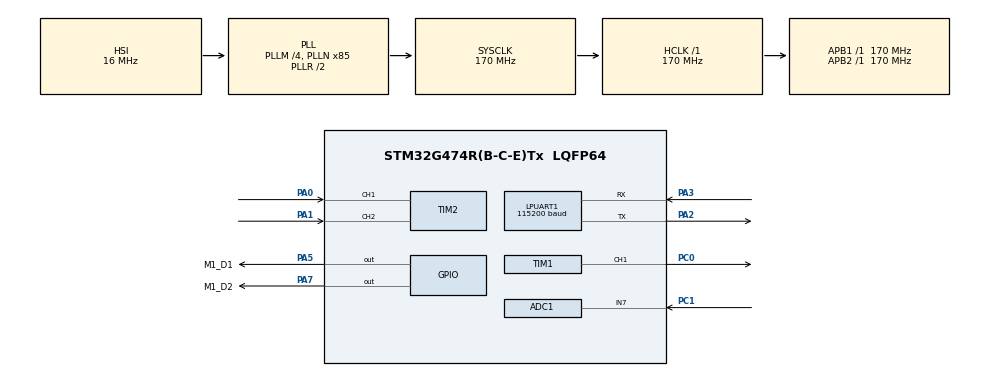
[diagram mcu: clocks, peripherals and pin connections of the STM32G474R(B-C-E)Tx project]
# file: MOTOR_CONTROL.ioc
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ADC1.Channel-1\#ChannelRegularConversion=ADC_CHANNEL_7
ADC1.NbrOfConversionFlag=1
ADC1.OffsetNumber-1\#ChannelRegularConversion=ADC_OFFSET_NONE
ADC1.Rank-1\#ChannelRegularConversion=1
ADC1.SamplingTime-1\#ChannelRegularConversion=ADC_SAMPLETIME_92CYCLES_5
ADC1.master=1
Dma.LPUART1_RX.1.Direction=DMA_PERIPH_TO_MEMORY
Dma.LPUART1_RX.1.EventEnable=DISABLE
Dma.LPUART1_RX.1.Instance=DMA1_Channel2
Dma.LPUART1_RX.1.MemDataAlignment=DMA_MDATAALIGN_BYTE
Dma.LPUART1_RX.1.MemInc=DMA_MINC_ENABLE
Dma.LPUART1_RX.1.Mode=DMA_NORMAL
Dma.LPUART1_RX.1.PeriphDataAlignment=DMA_PDATAALIGN_BYTE
Dma.LPUART1_RX.1.PeriphInc=DMA_PINC_DISABLE
Dma.LPUART1_RX.1.Polarity=HAL_DMAMUX_REQ_GEN_RISING
Dma.LPUART1_RX.1.Priority=DMA_PRIORITY_HIGH
Dma.LPUART1_RX.1.RequestNumber=1
Dma.LPUART1_RX.1.SignalID=NONE
Dma.LPUART1_RX.1.SyncEnable=DISABLE
Dma.LPUART1_RX.1.SyncPolarity=HAL_DMAMUX_SYNC_NO_EVENT
Dma.LPUART1_RX.1.SyncRequestNumber=1
Dma.LPUART1_RX.1.SyncSignalID=NONE
Dma.LPUART1_TX.0.Direction=DMA_MEMORY_TO_PERIPH
Dma.LPUART1_TX.0.EventEnable=DISABLE
Dma.LPUART1_TX.0.Instance=DMA1_Channel1
Dma.LPUART1_TX.0.MemDataAlignment=DMA_MDATAALIGN_BYTE
Dma.LPUART1_TX.0.MemInc=DMA_MINC_ENABLE
Dma.LPUART1_TX.0.Mode=DMA_NORMAL
Dma.LPUART1_TX.0.PeriphDataAlignment=DMA_PDATAALIGN_BYTE
Dma.LPUART1_TX.0.PeriphInc=DMA_PINC_DISABLE
Dma.LPUART1_TX.0.Polarity=HAL_DMAMUX_REQ_GEN_RISING
Dma.LPUART1_TX.0.Priority=DMA_PRIORITY_MEDIUM
Dma.LPUART1_TX.0.RequestNumber=1
Dma.LPUART1_TX.0.SignalID=NONE
Dma.LPUART1_TX.0.SyncEnable=DISABLE
Dma.LPUART1_TX.0.SyncPolarity=HAL_DMAMUX_SYNC_NO_EVENT
Dma.LPUART1_TX.0.SyncRequestNumber=1
Dma.LPUART1_TX.0.SyncSignalID=NONE
Dma.Request0=LPUART1_TX
Dma.Request1=LPUART1_RX
LPUART1.BaudRate=115200
LPUART1.FIFOMode=UART_FIFOMODE_ENABLE
Mcu.Family=STM32G4
Mcu.Name=STM32G474R(B-C-E)Tx
Mcu.Package=LQFP64
NUCLEO-G474RE.BUTTON=0
NUCLEO-G474RE.LD2=false
NUCLEO-G474RE.VCP=false
NVIC.DMA1_Channel1_IRQn=true\:2\:0\:true\:false\:true\:false\:true\:true
NVIC.DMA1_Channel2_IRQn=true\:1\:0\:true\:false\:true\:false\:true\:true
NVIC.LPUART1_IRQn=true\:1\:0\:true\:false\:true\:true\:true\:true
NVIC.PriorityGroup=NVIC_PRIORITYGROUP_4
NVIC.TIM3_IRQn=true\:0\:0\:false\:false\:true\:true\:true\:true
NVIC.TIM6_DAC_IRQn=true\:0\:0\:false\:false\:true\:true\:true\:true
PA0.GPIO_PuPd=GPIO_PULLUP
PA0.Signal=S_TIM2_CH1
PA1.GPIO_PuPd=GPIO_PULLUP
PA1.Signal=S_TIM2_CH2
PA13.GPIO_Label=T_SWDIO
PA13.Mode=Serial_Wire
PA13.Signal=SYS_JTMS-SWDIO
PA14.GPIO_Label=T_SWCLK
PA14.Mode=Serial_Wire
PA14.Signal=SYS_JTCK-SWCLK
PA2.Mode=Asynchronous
PA2.Signal=LPUART1_TX
PA3.Mode=Asynchronous
PA3.Signal=LPUART1_RX
PA5.GPIO_Label=M1_D1
PA5.Signal=GPIO_Output
PA7.GPIO_Label=M1_D2
PA7.Signal=GPIO_Output
PB3.GPIO_Label=T_SWO
PB3.Signal=SYS_JTDO-SWO
PC0.Signal=S_TIM1_CH1
PC1.Mode=IN7-Single-Ended
PC1.Signal=ADC1_IN7
PC14-OSC32_IN.GPIO_Label=RCC_OSC32_IN
PC14-OSC32_IN.Signal=RCC_OSC32_IN
PC15-OSC32_OUT.GPIO_Label=RCC_OSC32_OUT
PC15-OSC32_OUT.Signal=RCC_OSC32_OUT
PF0-OSC_IN.GPIO_Label=RCC_OSC_IN
PF0-OSC_IN.Mode=HSE-External-Oscillator
PF0-OSC_IN.Signal=RCC_OSC_IN
PF1-OSC_OUT.GPIO_Label=RCC_OSC_OUT
PF1-OSC_OUT.Mode=HSE-External-Oscillator
PF1-OSC_OUT.Signal=RCC_OSC_OUT
ProjectManager.HeapSize=0x200
ProjectManager.StackSize=0x400
ProjectManager.TargetToolchain=STM32CubeIDE
RCC.ADC12Freq_Value=170000000
RCC.ADC345Freq_Value=170000000
RCC.AHBFreq_Value=170000000
RCC.APB1Freq_Value=170000000
RCC.APB1TimFreq_Value=170000000
RCC.APB2Freq_Value=170000000
RCC.APB2TimFreq_Value=170000000
RCC.CortexFreq_Value=170000000
RCC.EXTERNAL_CLOCK_VALUE=12288000
RCC.HCLKFreq_Value=170000000
RCC.HSE_VALUE=24000000
RCC.HSI48_VALUE=48000000
RCC.HSI_VALUE=16000000
RCC.LSE_VALUE=32768
RCC.PLLM=RCC_PLLM_DIV4
RCC.PLLN=85
RCC.RTCClockSelection=RCC_RTCCLKSOURCE_LSE
RCC.SYSCLKFreq_VALUE=170000000
RCC.SYSCLKSource=RCC_SYSCLKSOURCE_PLLCLK
RCC.USBFreq_Value=170000000
RCC.VCOOutputFreq_Value=340000000
SH.S_TIM1_CH1.0=TIM1_CH1,PWM Generation1 CH1
SH.S_TIM2_CH1.0=TIM2_CH1,Encoder_Interface
SH.S_TIM2_CH2.0=TIM2_CH2,Encoder_Interface
TIM1.Channel-PWM\ Generation1\ CH1=TIM_CHANNEL_1
TIM1.PeriodNoDither=255
TIM1.Prescaler=32
TIM2.EncoderMode=TIM_ENCODERMODE_TI1
TIM2.IC1Filter=10
TIM2.IC2Filter=10
TIM2.TIM_MasterOutputTrigger=TIM_TRGO_ENCODER_CLK
TIM2.TIM_MasterSlaveMode=TIM_MASTERSLAVEMODE_ENABLE
TIM3.Channel-Input_Capture1_from_TRC=TIM_CHANNEL_1
TIM3.ICPrescaler-Input_Capture1_from_TRC=TIM_ICPSC_DIV1
TIM3.Prescaler=99
TIM6.PeriodNoDither=4999
TIM6.Prescaler=1699
VP_ADC1_Vref_Input.Mode=IN-Vrefint
VP_NUCLEO-G474RE_VS_BSP_COMMON.Mode=COMMON
VP_SYS_VS_DBSignals.Mode=DisableDeadBatterySignals
VP_TIM1_VS_ClockSourceINT.Mode=Internal
VP_TIM3_VS_CH1.Mode=Input_Capture1_from_TRC
VP_TIM3_VS_ClockSourceINT.Mode=Internal
VP_TIM3_VS_ClockSourceITR.Mode=TriggerSource_ITR1
VP_TIM3_VS_ControllerModeReset.Mode=Reset Mode
VP_TIM6_VS_ClockSourceINT.Mode=Enable_Timer
board=NUCLEO-G474RE

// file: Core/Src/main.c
/* USER CODE BEGIN Header */
/**
  ******************************************************************************
  * @file           : main.c
  * @brief          : Main program body
  ******************************************************************************
  * @attention
  *
  * Copyright (c) 2026 STMicroelectronics.
  * All rights reserved.
  *
  * This software is licensed under terms that can be found in the LICENSE file
  * in the root directory of this software component.
  * If no LICENSE file comes with this software, it is provided AS-IS.
  *
  ******************************************************************************
  */
/* USER CODE END Header */
#include "main.h"
#include "adc.h"
#include "dma.h"
#include "usart.h"
#include "tim.h"
#include "gpio.h"

/* USER CODE BEGIN Includes */
#include <string.h>
#include <stdbool.h>
#include "app.h"
#include "format.h"
#include "stm_battery_drv.h"
/* USER CODE END Includes */

/* USER CODE BEGIN PV */
static uint8_t dma_buf[RX_BUF_SIZE];
static char read_buf[RX_BUF_SIZE];
static char telemetry_buf[TELEMETRY_BUF_SIZE];
static char app_reply_buf[APP_REPLY_BUF_SIZE];
static volatile uint16_t received_len = 0;
static volatile bool rx_data_ready = false;
static volatile bool uart_hdmarx_locked = false;
static volatile bool need_rearm = false;
static uint16_t rearm_retries = 0;
static const uint16_t max_rearm_retries = 100;
static const char * const uart_rearm_stuck = "UART DMA rearm stuck\n";
static uint32_t uart_silence_start = 0;
static uint32_t telemetry_tx_start = 0;
static uint32_t battery_check_start = 0;
static const battery_t battery = {
    .get_vbat_raw = stm_bat_drv_get_vbat_raw,
    .get_vdda = stm_bat_drv_get_vdda,
};

/* USER CODE END PV */

void SystemClock_Config(void);
/* USER CODE BEGIN PFP */
static void unlock_uart_hdma();
static void init_debugmcu();
static void rearm_uart_dma_rx();
void debug_print_str(const char *msg);
void debug_print(char *buf, size_t len);
/* USER CODE END PFP */

/* USER CODE BEGIN 0 */
void HAL_UART_ErrorCallback(UART_HandleTypeDef *huart)
{
	if (huart->Instance != LPUART1)
		return;

	if ((huart->ErrorCode & HAL_UART_ERROR_ORE) != 0 && huart->hdmarx->Lock == HAL_LOCKED)
		uart_hdmarx_locked = true;
	else
		need_rearm = true;
}

void HAL_UARTEx_RxEventCallback(UART_HandleTypeDef *huart, uint16_t Size)
{
	if (huart->Instance != LPUART1)
		return;

	if (HAL_UARTEx_GetRxEventType(huart) == HAL_UART_RXEVENT_HT)
		return;

	memcpy(read_buf, dma_buf, Size);
	received_len = Size;
	rx_data_ready = true;
}

void HAL_TIM_PeriodElapsedCallback(TIM_HandleTypeDef *htim)
{
	if (htim->Instance == TIM6)
	{
		app_do_control_action();
	}

	if (htim->Instance == TIM3)
	{
		if (__HAL_TIM_GET_FLAG(htim, TIM_FLAG_TRIGGER) == SET)
			__HAL_TIM_CLEAR_FLAG(htim, TIM_FLAG_TRIGGER);
		else
			app_try_reset_t_method(HAL_GetTick());
	}
}

void HAL_TIM_IC_CaptureCallback(TIM_HandleTypeDef *htim)
{
	if (htim->Instance == TIM3)
	{
		app_run_t_method(htim->Instance->CCR1, HAL_GetTick());
	}
}

/* USER CODE END 0 */

int main(void)
{

  /* MCU Configuration--------------------------------------------------------*/

  /* Reset of all peripherals, Initializes the Flash interface and the Systick. */
  HAL_Init();

  /* Configure the system clock */
  SystemClock_Config();

  /* Initialize all configured peripherals */
  MX_GPIO_Init();
  MX_DMA_Init();
  MX_LPUART1_UART_Init();
  MX_TIM2_Init();
  MX_TIM6_Init();
  MX_TIM1_Init();
  MX_TIM3_Init();
  MX_ADC1_Init();
  /* USER CODE BEGIN 2 */
  init_debugmcu();

  app_init();

  HAL_UARTEx_ReceiveToIdle_DMA(&hlpuart1, dma_buf, RX_BUF_SIZE);

  HAL_TIM_Base_Start_IT(&htim6); // PID timer

  HAL_TIM_IC_Start_IT(&htim3, TIM_CHANNEL_1); // input capture

  HAL_TIM_Base_Start_IT(&htim3); // period elapsed

  HAL_ADCEx_Calibration_Start(&hadc1, ADC_SINGLE_ENDED);

  stm_bat_drv_init(&hadc1, ADC_CHANNEL_VREFINT, ADC_CHANNEL_7);

  app_init();

  /* USER CODE END 2 */

  /* Infinite loop */
  /* USER CODE BEGIN WHILE */
  while (1)
  {
	uint32_t now = HAL_GetTick();

	if (rx_data_ready && hlpuart1.gState == HAL_UART_STATE_READY)
	{
		rx_data_ready = false;
		uint16_t reply_len = app_process_command(read_buf, received_len, app_reply_buf);
		if (reply_len > 0)
			HAL_UART_Transmit_DMA(&hlpuart1, (uint8_t *)app_reply_buf, reply_len);

		need_rearm = true;
		uart_silence_start = now;
	}

	if (!rx_data_ready && now - uart_silence_start >= UART_MAX_SILENCE_DURATION_MS)
	{
		app_do_silence_action();
		uart_silence_start = now;
	}

	if ((now - telemetry_tx_start >= TELEMETRY_INTERVAL_MS) && hlpuart1.gState == HAL_UART_STATE_READY)
	{
		uint16_t telemetry_len = app_get_telemetry(telemetry_buf, now);
		if (telemetry_len > 0)
			HAL_UART_Transmit_DMA(&hlpuart1, (uint8_t *)telemetry_buf, (uint16_t)telemetry_len);

		telemetry_tx_start = now;
	}

	if (now - battery_check_start >= BATTERY_CHECK_INTERVAL_MS)
	{
		app_calc_v_bat(&battery);
		battery_check_start = now;
	}

	if (need_rearm)
		rearm_uart_dma_rx();

	if (uart_hdmarx_locked)
		unlock_uart_hdma();

    /* USER CODE END WHILE */

  }
}

void SystemClock_Config(void)
{
  RCC_OscInitTypeDef RCC_OscInitStruct = {0};
  RCC_ClkInitTypeDef RCC_ClkInitStruct = {0};

  /** Configure the main internal regulator output voltage
  */
  HAL_PWREx_ControlVoltageScaling(PWR_REGULATOR_VOLTAGE_SCALE1_BOOST);

  /** Initializes the RCC Oscillators according to the specified parameters
  * in the RCC_OscInitTypeDef structure.
  */
  RCC_OscInitStruct.OscillatorType = RCC_OSCILLATORTYPE_HSI;
  RCC_OscInitStruct.HSIState = RCC_HSI_ON;
  RCC_OscInitStruct.HSICalibrationValue = RCC_HSICALIBRATION_DEFAULT;
  RCC_OscInitStruct.PLL.PLLState = RCC_PLL_ON;
  RCC_OscInitStruct.PLL.PLLSource = RCC_PLLSOURCE_HSI;
  RCC_OscInitStruct.PLL.PLLM = RCC_PLLM_DIV4;
  RCC_OscInitStruct.PLL.PLLN = 85;
  RCC_OscInitStruct.PLL.PLLP = RCC_PLLP_DIV2;
  RCC_OscInitStruct.PLL.PLLQ = RCC_PLLQ_DIV2;
  RCC_OscInitStruct.PLL.PLLR = RCC_PLLR_DIV2;
  if (HAL_RCC_OscConfig(&RCC_OscInitStruct) != HAL_OK)
  {
    Error_Handler();
  }

  /** Initializes the CPU, AHB and APB buses clocks
  */
  RCC_ClkInitStruct.ClockType = RCC_CLOCKTYPE_HCLK|RCC_CLOCKTYPE_SYSCLK
                              |RCC_CLOCKTYPE_PCLK1|RCC_CLOCKTYPE_PCLK2;
  RCC_ClkInitStruct.SYSCLKSource = RCC_SYSCLKSOURCE_PLLCLK;
  RCC_ClkInitStruct.AHBCLKDivider = RCC_SYSCLK_DIV1;
  RCC_ClkInitStruct.APB1CLKDivider = RCC_HCLK_DIV1;
  RCC_ClkInitStruct.APB2CLKDivider = RCC_HCLK_DIV1;

  if (HAL_RCC_ClockConfig(&RCC_ClkInitStruct, FLASH_LATENCY_4) != HAL_OK)
  {
    Error_Handler();
  }
}

/* USER CODE BEGIN 4 */
static void unlock_uart_hdma()
{
	uart_hdmarx_locked = false;
	app_reader_reset();
	if (HAL_UART_AbortReceive(&hlpuart1) != HAL_OK)
	{
	    __HAL_UNLOCK(&hlpuart1);
	    if (hlpuart1.hdmarx)
	    {
	        __HAL_UNLOCK(hlpuart1.hdmarx);
	        hlpuart1.hdmarx->State = HAL_DMA_STATE_READY;
	    }
	    hlpuart1.RxState = HAL_UART_STATE_READY;
	}
	need_rearm = true;
}

static void rearm_uart_dma_rx()
{
	need_rearm = false;
    if (hlpuart1.RxState == HAL_UART_STATE_BUSY_RX)
    {
    	return;
    }

	if (HAL_UARTEx_ReceiveToIdle_DMA(&hlpuart1, dma_buf, RX_BUF_SIZE) != HAL_OK)
	{
		if (++rearm_retries >= max_rearm_retries)
		{
			debug_print_str(uart_rearm_stuck);
			rearm_retries = 0;
		}
		need_rearm = true;
	}
	else
	{
		rearm_retries = 0;
	}
}

static void init_debugmcu()
{
	// 1. Включаем тактирование DBGMCU
	SET_BIT(RCC->APB1ENR1, (1UL << 22));

	// 2. Включаем трассировку
	DBGMCU->CR |= 0x00300000;

	// 3. Настраиваем PB3 как SWO (AF0)
	__HAL_RCC_GPIOB_CLK_ENABLE();
	GPIO_InitTypeDef gpio = {0};
	gpio.Pin = GPIO_PIN_3;
	gpio.Mode = GPIO_MODE_AF_PP;
	gpio.Pull = GPIO_NOPULL;
	gpio.Speed = GPIO_SPEED_FREQ_HIGH;
	gpio.Alternate = GPIO_AF0_TRACE;
	HAL_GPIO_Init(GPIOB, &gpio);
}
/* USER CODE END 4 */

void Error_Handler(void)
{
  __disable_irq();
  while (1)
  {
  }
}
